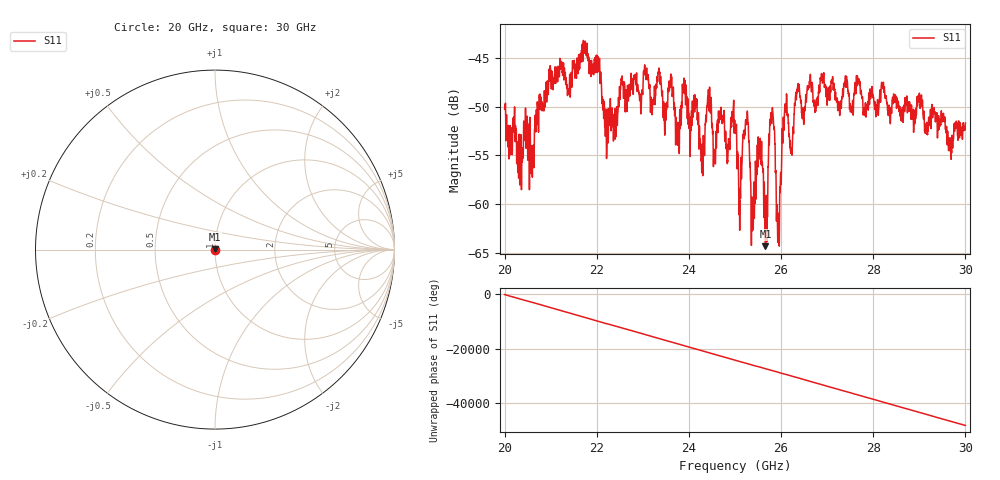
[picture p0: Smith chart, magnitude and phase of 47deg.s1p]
#  HZ  S  RI  R  50.00
! Rohde & Schwarz ZVA40 4Ports - Version 3.90 - 1145.1110k42 SN: 100403
! Date: 2023-10-03 12:55:15
! Measurement: S12
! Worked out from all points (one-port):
!   5001 points, 20 GHz to 30 GHz, reference 50 ohm
!   lowest |S11| = -64.3 dB at 25.66 GHz (marker M1), VSWR 1.00, Z = 50 + j0.0578 ohm
!   |S11| at or under -10 dB: start of sweep to end of sweep
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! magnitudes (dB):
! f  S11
! 20 GHz  -50.3
! 20.59 GHz  -54.8
! 20.74 GHz  -52.6
! 21.25 GHz  -46.5
! 22.01 GHz  -46.2
! 22.22 GHz  -53.7
! 22.5 GHz  -49.2
! 23.35 GHz  -46.4
! 23.62 GHz  -48.0
! 23.75 GHz  -53.9
! 23.9 GHz  -48.0
! 24.29 GHz  -54.2
! 24.44 GHz  -50.3
! 24.55 GHz  -54.7
! 25 GHz  -52.4
! 25.11 GHz  -60.2
! 25.26 GHz  -51.0
! 25.39 GHz  -61.1
! 25.55 GHz  -54.4
! 25.66 GHz  -64.3
! 25.8 GHz  -51.2
! 25.94 GHz  -61.5
! 26.09 GHz  -49.8
! 26.25 GHz  -53.3
! 26.36 GHz  -47.9
! 27.5 GHz  -49.8
! 28.75 GHz  -49.6
! 30 GHz  -51.7
